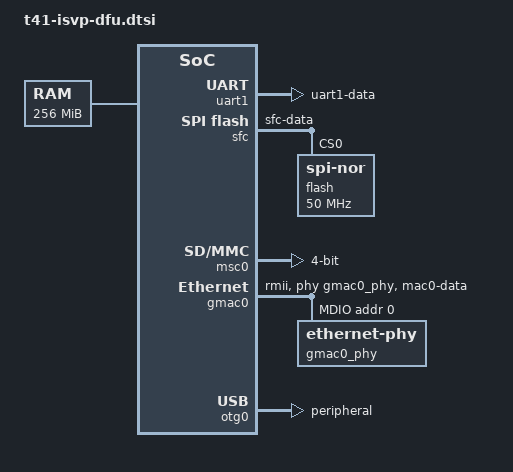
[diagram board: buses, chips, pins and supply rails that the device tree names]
// SPDX-License-Identifier: GPL-2.0+
/*
 * Ingenic ISVP-T41 USB-boot DFU-loader board body, shared by every
 * T41 SKU. Trimmed sibling of t41-isvp.dtsi (no audio; OTG in gadget
 * mode for DFU/g_dnl). The per-SKU leaf .dts sets ingenic,variant on
 * &ddr.
 */

#include <dt-bindings/clock/ingenic,t41-cgu.h>

/ {
	compatible = "ingenic,t41";
	#address-cells = <1>;
	#size-cells = <1>;

	aliases {
		serial1 = &uart1;
	};

	chosen {
		stdout-path = "serial1:115200n8";
	};

	memory@0 {
		device_type = "memory";
		reg = <0x0 0x10000000>;
	};

	ddr: memory-controller@b34f0000 {
		compatible = "ingenic,t41-ddr-innophy";
		reg = <0xb34f0000 0x3000>;
		/* ingenic,variant is set by the per-SKU leaf .dts. */
		bootph-all;
	};

	cgu: clock-controller@b0000000 {
		compatible = "ingenic,t41-cgu";
		reg = <0xb0000000 0x1000>;
		#clock-cells = <1>;
		bootph-all;
	};

	pinctrl: pinctrl@b0010000 {
		compatible = "ingenic,t41-pinctrl";
		reg = <0xb0010000 0x8000>;
		#address-cells = <1>;
		#size-cells = <0>;

		gpa: gpio@0 {
			compatible = "ingenic,t41-gpio";
			reg = <0>;
			gpio-controller;
			#gpio-cells = <2>;
		};

		gpb: gpio@1 {
			compatible = "ingenic,t41-gpio";
			reg = <1>;
			gpio-controller;
			#gpio-cells = <2>;
		};

		gpc: gpio@2 {
			compatible = "ingenic,t41-gpio";
			reg = <2>;
			gpio-controller;
			#gpio-cells = <2>;
		};

		gpd: gpio@3 {
			compatible = "ingenic,t41-gpio";
			reg = <3>;
			gpio-controller;
			#gpio-cells = <2>;
		};

		gpe: gpio@4 {
			compatible = "ingenic,t41-gpio";
			reg = <4>;
			gpio-controller;
			#gpio-cells = <2>;
		};

		pins_uart1: uart1 {
			function = "uart1";
			groups = "uart1-data";
		};

		pins_sfc: sfc {
			function = "sfc";
			groups = "sfc-data";
		};

		pins_mac0: mac0 {
			function = "mac0";
			groups = "mac0-data";
		};
	};

	uart1: serial@b0031000 {
		compatible = "ingenic,jz4780-uart", "ns16550a";
		reg = <0xb0031000 0x100>;
		reg-shift = <2>;
		clock-frequency = <24000000>;
		pinctrl-names = "default";
		pinctrl-0 = <&pins_uart1>;
		status = "okay";
	};

	/*
	 * TCU (timer/counter unit) container mirroring T31's binding. U-Boot
	 * only needs the watchdog child for sysreset; the WDT self-clocks
	 * from the 32 kHz RTC so the TCU clock provider is not required.
	 */
	tcu: timer@b0002000 {
		compatible = "ingenic,t41-tcu", "ingenic,jz4760-tcu",
			     "simple-mfd";
		reg = <0xb0002000 0x1000>;
		#address-cells = <1>;
		#size-cells = <1>;
		ranges = <0x0 0xb0002000 0x1000>;

		watchdog: watchdog@0 {
			compatible = "ingenic,t41-watchdog",
				     "ingenic,jz4780-watchdog";
			reg = <0x0 0x10>;
		};
	};

	sfc: spi@b3440000 {
		compatible = "ingenic,t41-sfc";
		reg = <0xb3440000 0x10000>;
		#address-cells = <1>;
		#size-cells = <0>;
		clocks = <&cgu T41_CLK_SFC>;
		pinctrl-names = "default";
		pinctrl-0 = <&pins_sfc>;
		spi-max-frequency = <50000000>;
		status = "okay";

		flash@0 {
			compatible = "jedec,spi-nor";
			reg = <0>;
			spi-max-frequency = <50000000>;
		};
	};

	msc0: mmc@b3060000 {
		compatible = "ingenic,t41-mmc";
		reg = <0xb3060000 0x10000>;
		clocks = <&cgu T41_CLK_MSC0>;
		clock-names = "mmc";
		bus-width = <4>;
		broken-cd;
		status = "okay";
	};

	gmac0: ethernet@b34b0000 {
		compatible = "ingenic,t41-gmac";
		reg = <0xb34b0000 0x2000>;
		clocks = <&cgu T41_CLK_GMAC0>;
		phy-mode = "rmii";
		phy-handle = <&gmac0_phy>;
		ingenic,mode-reg = <0xb00000e8>;
		max-speed = <100>;
		macphy-rate = <50000000>;
		pinctrl-names = "default";
		pinctrl-0 = <&pins_mac0>;
		status = "okay";

		mdio {
			#address-cells = <1>;
			#size-cells = <0>;

			gmac0_phy: ethernet-phy@0 {
				reg = <0>;
			};
		};
	};

	/*
	 * T41 has a single DWC2 USB OTG at 0xb3500000 (A1 has three).
	 */
	otg0: usb@b3500000 {
		compatible = "snps,dwc2";
		reg = <0xb3500000 0x40000>;
		clocks = <&cgu T41_CLK_OTG0>;
		dr_mode = "peripheral";		/* gadget bind for DFU/g_dnl */
		status = "okay";
	};
};
